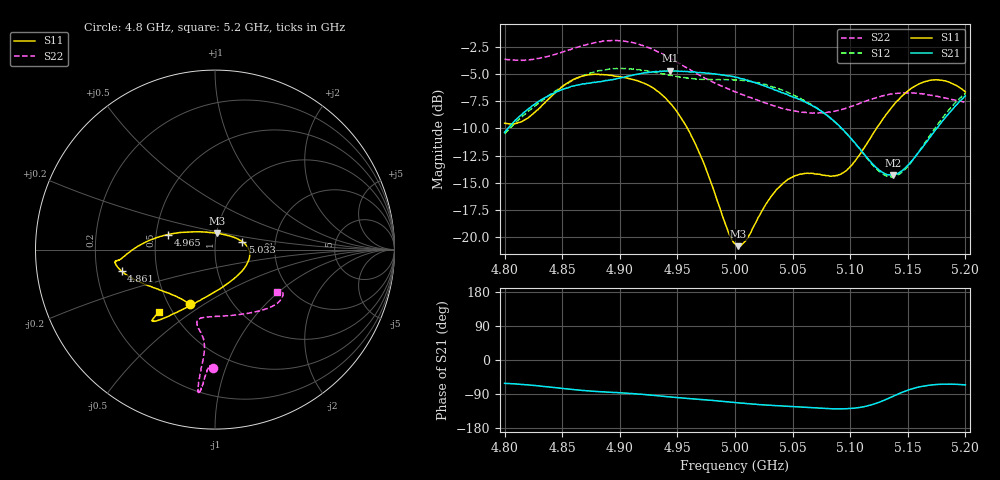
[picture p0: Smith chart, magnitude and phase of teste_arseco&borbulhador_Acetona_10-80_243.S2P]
! Network Analyzer HP8722D
! Hewlett-Packard
! Data name: Linha & Wilkinson
! Saver's name: Rodrigo Anjos
! Comments: Teste da utilização de aquisição
! continua pelo VNA HP8722D
! Time and date: 17/4/2025 16:23
!  Frequency  S11  S21  S12  S22
# HZ  S  MA R 50
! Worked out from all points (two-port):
!   401 points, 4.8 GHz to 5.2 GHz, reference 50 ohm
!   highest |S21| = -4.70 dB at 4.944 GHz (marker M1); lowest = -14.3 dB at 5.137 GHz (marker M2)
!   |S21| within 3 dB of the highest: 4.827 GHz to 5.063 GHz (236.3 MHz wide, 4.78 % of centre); 5.1935 GHz to end of sweep
!   lowest |S11| = -20.8 dB at 5.003 GHz (marker M3), VSWR 1.20, Z = 50.3 + j9.18 ohm
!   |S11| at or under -10 dB: 4.959 GHz to 5.123 GHz (164 MHz wide, 3.25 % of centre)
!   |S22| runs from -8.6 to -1.9 dB; largest |S21 - S12| = 0.88
!   S11 on the Smith chart (normalised r, x): 4.8 GHz: 0.64, -0.43; 4.861 GHz: 0.31, -0.10; 4.965 GHz: 0.58, +0.11; 5.033 GHz: 1.35, +0.12; 5.2 GHz: 0.43, -0.38
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4.8e9  0.3342 -115.1  0.3041 -61.7  0.2988 -176.0  0.6576 -91.0
4.819e9  0.3504 -135.1  0.3831 -65.4  0.3728 -175.1  0.653 -92.6
4.861e9  0.5342 -167.0  0.4964 -78.5  0.532 -178.4  0.7382 -95.0
4.867e9  0.5486 -169.3  0.5047 -80.0  0.5491 -179.5  0.7563 -95.2
4.902e9  0.5435 -173.8  0.5418 -86.8  0.5967 173.8  0.7971 -96.7
4.934e9  0.4641 -179.5  0.5766 -94.7  0.5682 170.7  0.7062 -97.0
4.944e9  0.4111 175.9  0.5822 -97.5  0.5535 170.9  0.6626 -96.6
4.965e9  0.2724 162.0  0.5756 -103.1  0.5339 172.7  0.5719 -96.1
4.994e9  0.1068 114.7  0.5508 -110.4  0.5294 174.8  0.4803 -98.8
5e9  0.09361 94.1  0.5443 -112.1  0.5282 175.0  0.4659 -99.9
5.003e9  0.09116 82.8  0.5407 -113.1  0.5259 174.9  0.4593 -100.8
5.011e9  0.0997 55.4  0.5271 -115.3  0.5212 174.6  0.4425 -102.2
5.033e9  0.1582 16.4  0.4797 -120.0  0.4895 173.5  0.4032 -103.6
5.048e9  0.1872 1.4  0.4461 -122.5  0.4576 173.0  0.3839 -99.7
5.067e9  0.1966 -18.6  0.4029 -125.8  0.4053 172.7  0.3716 -89.4
5.096e9  0.2016 -69.5  0.3031 -128.6  0.3026 174.4  0.3912 -66.5
5.121e9  0.3053 -108.5  0.2133 -116.2  0.2107 -170.7  0.4357 -49.5
5.134e9  0.3835 -118.8  0.1937 -100.0  0.1898 -152.9  0.4536 -43.0
5.137e9  0.4005 -120.6  0.193 -96.2  0.1902 -148.1  0.4559 -41.8
5.15e9  0.4695 -126.2  0.214 -79.8  0.2118 -129.3  0.4606 -37.2
5.17e9  0.5266 -130.6  0.2909 -66.0  0.298 -112.3  0.4496 -32.7
5.2e9  0.4653 -131.9  0.4462 -65.9  0.4586 -108.0  0.4167 -34.4
